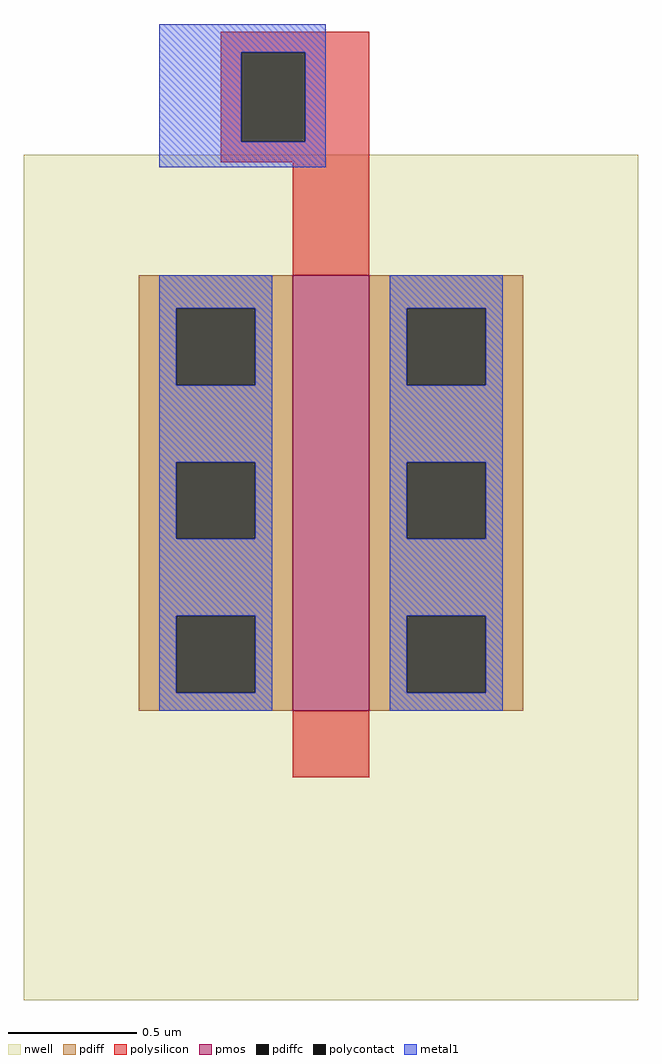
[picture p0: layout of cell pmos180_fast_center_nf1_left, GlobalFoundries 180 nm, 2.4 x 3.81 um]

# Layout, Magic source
magic
tech gf180mcuC
magscale 1 10
<< nwell >>
rect -150 -90 330 570
<< pmos >>
rect 60 136 120 476
<< pdiff >>
rect -60 450 60 476
rect -60 390 -31 450
rect 31 390 60 450
rect -60 330 60 390
rect -60 270 -31 330
rect 31 270 60 330
rect -60 210 60 270
rect -60 150 -31 210
rect 31 150 60 210
rect -60 136 60 150
rect 120 450 240 476
rect 120 390 149 450
rect 211 390 240 450
rect 120 330 240 390
rect 120 270 149 330
rect 211 270 240 330
rect 120 210 240 270
rect 120 150 149 210
rect 211 150 240 210
rect 120 136 240 150
<< pdiffc >>
rect -31 390 31 450
rect -31 270 31 330
rect -31 150 31 210
rect 149 390 211 450
rect 149 270 211 330
rect 149 150 211 210
<< polysilicon >>
rect 4 650 120 666
rect 4 580 20 650
rect 70 580 120 650
rect 4 564 120 580
rect 60 476 120 564
rect 60 84 120 136
<< polycontact >>
rect 20 580 70 650
<< metal1 >>
rect -44 650 86 672
rect -44 580 20 650
rect 70 580 86 650
rect -44 560 86 580
rect -44 450 44 476
rect -44 390 -31 450
rect 31 390 44 450
rect -44 330 44 390
rect -44 270 -31 330
rect 31 270 44 330
rect -44 210 44 270
rect -44 150 -31 210
rect 31 150 44 210
rect -44 136 44 150
rect 136 450 224 476
rect 136 390 149 450
rect 211 390 224 450
rect 136 330 224 390
rect 136 270 149 330
rect 211 270 224 330
rect 136 210 224 270
rect 136 150 149 210
rect 211 150 224 210
rect 136 136 224 150
<< end >>
